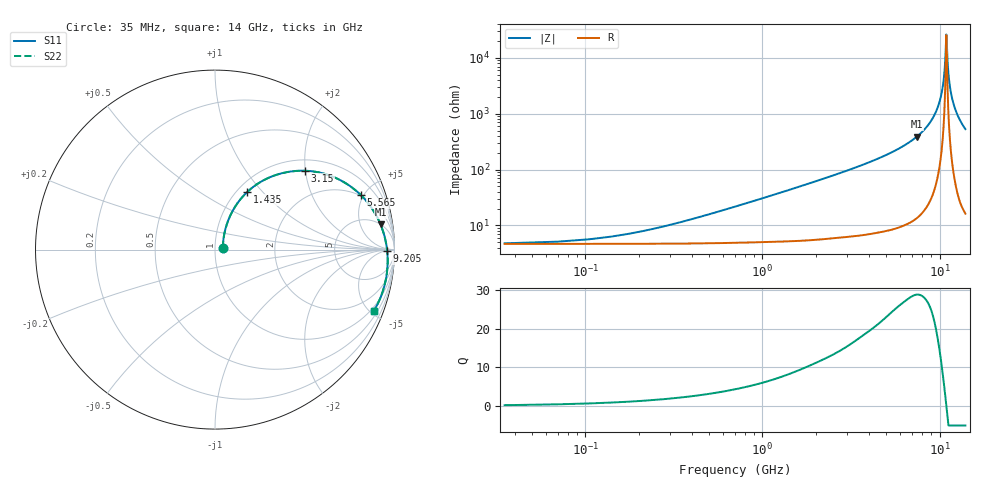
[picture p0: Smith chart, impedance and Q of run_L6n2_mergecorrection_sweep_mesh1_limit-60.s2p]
#  Hz  S  RI  R  50
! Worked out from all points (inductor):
!   400 points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, 35 MHz to 14 GHz, reference 50 ohm
!   read as one part in series: L = 4.79 nH near 490 MHz
!   highest Q = 28.8 at 7.455 GHz (marker M1), where L = 8.32 nH
!   self-resonance near 10.92 GHz
!   S11 on the Smith chart (normalised r, x): 35 MHz: 1.09, +0.02; 1.435 GHz: 1.11, +0.83; 3.15 GHz: 1.26, +2.00; 5.565 GHz: 1.94, +4.77; 9.205 GHz: 47, -8; 14 GHz: 0.77, -5.28
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3.5e7  0.0434 0.00894  0.954 -0.0104  0.954 -0.0104  0.0435 0.00894
3.5e8  0.0521 0.0887  0.9422 -0.1023  0.9422 -0.1023  0.0521 0.0887
5.95e8  0.0684 0.1487  0.921 -0.1692  0.921 -0.1692  0.0685 0.1487
1.435e9  0.18 0.3214  0.7969 -0.3501  0.7969 -0.3501  0.18 0.3213
2.38e9  0.36 0.4222  0.6145 -0.46  0.6145 -0.46  0.36 0.422
3.15e9  0.5029 0.4393  0.4697 -0.4853  0.4697 -0.4853  0.5028 0.4391
4.69e9  0.7264 0.3712  0.2441 -0.4349  0.2441 -0.4349  0.7263 0.3709
5.565e9  0.8127 0.3038  0.1566 -0.3779  0.1566 -0.3779  0.8126 0.3035
7.035e9  0.9053 0.1773  0.0619 -0.2692  0.0619 -0.2692  0.9052 0.1769
7.455e9  0.9223 0.1407  0.0443 -0.2377  0.0443 -0.2377  0.9222 0.1402
9.205e9  0.9595 -0.00663  0.00409 -0.112  0.00409 -0.112  0.9592 -0.00716
9.345e9  0.9605 -0.018  0.0028 -0.1025  0.0028 -0.1025  0.9603 -0.0185
1.001e10  0.9621 -0.0704  -0.000137 -0.0584  -0.000137 -0.0584  0.9618 -0.071
1.0465e10  0.9604 -0.105  0.00062 -0.0294  0.00062 -0.0294  0.9601 -0.1056
1.0745e10  0.9584 -0.1259  0.0021 -0.012  0.0021 -0.012  0.9581 -0.1265
1.092e10  0.9568 -0.1388  0.00341 -0.00133  0.00341 -0.00133  0.9564 -0.1394
1.0955e10  0.9564 -0.1414  0.00371 0.000783  0.00371 0.000783  0.9561 -0.142
1.1095e10  0.9548 -0.1516  0.00501 0.00919  0.00501 0.00919  0.9544 -0.1522
1.1235e10  0.953 -0.1617  0.00649 0.0175  0.00649 0.0175  0.9526 -0.1623
1.169e10  0.9459 -0.1938  0.0125 0.0438  0.0125 0.0438  0.9455 -0.1944
1.26e10  0.9271 -0.2547  0.0293 0.0933  0.0293 0.0933  0.9267 -0.2554
1.4e10  0.886 -0.3403  0.0665 0.1611  0.0665 0.1611  0.8855 -0.341
